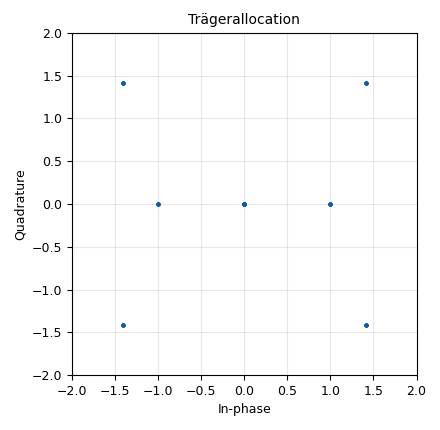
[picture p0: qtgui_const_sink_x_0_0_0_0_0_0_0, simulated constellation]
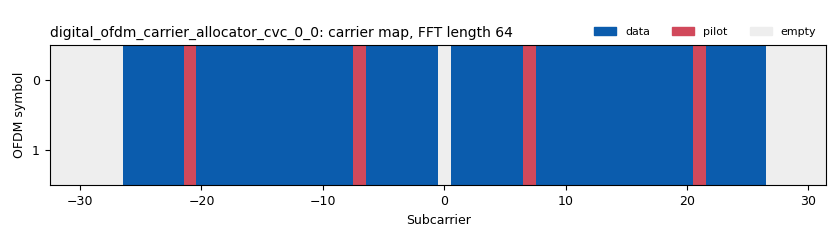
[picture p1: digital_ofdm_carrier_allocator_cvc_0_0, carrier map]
options:
  parameters:
    author: jreitmei
    comment: |-
      This example demonstrates the application of the 
      Fast Fourier Transform (FFT) within an 
      Orthogonal Frequency Division Multiplexing (OFDM) 
      scenario. It highlights the integration of a 
      Finite Impulse Response (FIR) filter for channel simulation
      with cyclic prefix addition and removal, illustrating their 
      roles in a standard transmission process. The example builds 
      upon the rx_ofdm and tx_ofdm examples from the gr_digital library.
    generate_options: qt_gui
    generator_class_name: PythonQtGuiGenerator
    generator_module: gnuradio.grc.workflows.python_qt_gui
    id: fft_full_demo
    output_language: python
    title: Not titled yet
  states: {}

blocks:
- name: coeffs_distribution
  id: variable_qtgui_range
  parameters:
    comment: |-
      This graphical user interface (GUI) allows you to 
      adjust a filter tap within the FIR filter to simulate 
      delay effects. Additionally, it enables adaptations 
      for simulating multipath propagation scenarios.
    gui_hint: (0,0,1,4)
    label: FIR Filter running coeffs
    orient: QtCore.Qt.Orientation.Horizontal
    rangeType: int
    start: '0'
    step: '1'
    stop: '40'
    value: '0'
  states: {}
- name: cp_len
  id: variable
  parameters:
    value: int(fft_len/4)
  states: {}
- name: fft_len
  id: variable
  parameters:
    value: '64'
  states: {}
- name: length_tag_key
  id: variable
  parameters:
    value: '"packet_len"'
  states: {}
- name: mult_const
  id: variable_qtgui_range
  parameters:
    comment: |-
      This is for Mulitplying a const before it is further processed on the 
      FPGA. Can be adjusted but FFT tends to clip when used with the 
      wrong parameters.
    gui_hint: (1,0,1,4)
    label: Power of scaling Divider FFT
    orient: QtCore.Qt.Orientation.Horizontal
    start: '0.001'
    step: '0.001'
    stop: '0.2'
    value: '0.01'
  states: {}
- name: multipath_propagation
  id: variable
  parameters:
    value: (min(coeffs_distribution, num_coeffs-4))*[0.0] + [1.0, 0.8, 0.6, 0.1] + max(0, num_coeffs - 4 - min(coeffs_distribution, num_coeffs-4))*[0.0]
  states: {}
- name: multipath_propagation_0
  id: variable
  parameters:
    value: 1 * [1.0] + (min(coeffs_distribution, num_coeffs-5))*[0.0] + [0.8, 0.6, 0.4, 0.1] + max(0, num_coeffs - 5 - min(coeffs_distribution, num_coeffs-5))*[0.0]
  states: {}
- name: num_coeffs
  id: variable
  parameters:
    comment: FIR Filter length
    value: '41'
  states: {}
- name: occupied_carriers
  id: variable
  parameters:
    value: (list(range(-26, -21)) + list(range(-20, -7)) + list(range(-6, 0)) + list(range(1, 7)) + list(range(8, 21)) + list(range(22, 27)),)
  states: {}
- name: packet_len
  id: variable
  parameters:
    value: '64'
  states: {}
- name: payload_equalizer
  id: variable
  parameters:
    value: digital.ofdm_equalizer_simpledfe(fft_len, payload_mod.base(), occupied_carriers, pilot_carriers, pilot_symbols, 1)
  states: {}
- name: payload_mod
  id: variable
  parameters:
    value: digital.constellation_qpsk()
  states: {}
- name: pilot_carriers
  id: variable
  parameters:
    value: ((-21, -7, 7, 21,),)
  states: {}
- name: pilot_symbols
  id: variable
  parameters:
    value: ((1, 1, 1, -1,),)
  states: {}
- name: running_coeffs
  id: variable
  parameters:
    value: (coeffs_distribution)*[0.0] + [1.0] + (num_coeffs - 1 - coeffs_distribution)*[0.0]
  states: {}
- name: samp_rate
  id: variable
  parameters:
    value: '10000'
  states: {}
- name: scaling_divider_0
  id: variable_qtgui_range
  parameters:
    gui_hint: (2,0,1,4)
    label: Power of scaling Divider IFFT
    orient: QtCore.Qt.Orientation.Horizontal
    rangeType: int
    start: '0'
    step: '1'
    stop: '6'
    value: '1'
  states: {}
- name: scaling_divider_1
  id: variable_qtgui_range
  parameters:
    gui_hint: (3,0,1,4)
    label: Power of scaling Divider FFT
    orient: QtCore.Qt.Orientation.Horizontal
    rangeType: int
    start: '0'
    step: '1'
    stop: '6'
    value: '1'
  states: {}
- name: scaling_factor_0
  id: variable
  parameters:
    value: 1/(2**scaling_divider_0)
  states: {}
- name: scaling_factor_1
  id: variable
  parameters:
    comment: |-
      This adjusts the FFT scaling factor. Remember that the scaling 
      factor is defined as (1/2^scaling_divider) for better FPGA
      processing.
    value: 1/(2**scaling_divider_1)
  states: {}
- name: sync_word1
  id: variable
  parameters:
    value: '[0., 0., 0., 0., 0., 0., 0., 1., 0., -1., 0., 1., 0., -1., 0., -1., 0., -1., 0., 1., 0., -1., 0., 1., 0., -1., 0., -1., 0., -1., 0., -1., 0., 1., 0., -1., 0., 1., 0., 1., 0., 1., 0., -1., 0., 1., 0., 1., 0., 1., 0., -1., 0., 1., 0., 1., 0., 1., 0., 0., 0., 0., 0., 0.]'
  states: {}
- name: sync_word2
  id: variable
  parameters:
    value: '[0, 0, 0, 0, 0, 0, -1, -1, -1, -1, 1, 1, -1, -1, -1, 1, -1, 1, 1, 1, 1, 1, -1, -1, -1, -1, -1, 1, -1, -1, 1, -1, 0, 1, -1, 1, 1, 1, -1, 1, 1, 1, -1, 1, 1, 1, 1, -1, 1, -1, -1, -1, 1, -1, 1, -1, -1, -1, -1, 0, 0, 0, 0, 0] '
  states: {}
- name: uhd_rfnoc_graph
  id: uhd_rfnoc_graph
  parameters:
    dev_addr: '"addr=192.168.40.2"'
  states: {}
- name: analog_random_source_x_0_0
  id: analog_random_source_x
  parameters:
    max: '255'
    min: '0'
    num_samps: '1000'
    repeat: 'True'
    type: byte
  states: {}
- name: blocks_multiply_const_vxx_0
  id: blocks_multiply_const_vxx
  parameters:
    const: '[mult_const] *fft_len'
    type: complex
    vlen: fft_len
  states: {}
- name: blocks_repack_bits_bb_0
  id: blocks_repack_bits_bb
  parameters:
    align_output: 'True'
    endianness: gr.GR_LSB_FIRST
    k: payload_mod.bits_per_symbol()
    l: '8'
    len_tag_key: packet_len
  states: {}
- name: blocks_repack_bits_bb_0_0
  id: blocks_repack_bits_bb
  parameters:
    endianness: gr.GR_LSB_FIRST
    k: '8'
    l: payload_mod.bits_per_symbol()
    len_tag_key: length_tag_key
  states: {}
- name: blocks_stream_to_tagged_stream_0
  id: blocks_stream_to_tagged_stream
  parameters:
    len_tag_key: '"packet_len"'
    packet_len: '8'
    type: complex
    vlen: '64'
  states: {}
- name: blocks_stream_to_tagged_stream_0_0
  id: blocks_stream_to_tagged_stream
  parameters:
    len_tag_key: length_tag_key
    packet_len: packet_len
    type: byte
  states: {}
- name: blocks_tag_debug_1
  id: blocks_tag_debug
  parameters:
    name: Rx Bytes
    type: byte
  states: {}
- name: blocks_throttle2_0
  id: blocks_throttle2
  parameters:
    samples_per_second: samp_rate
    type: complex
  states: {}
- name: blocks_vector_to_stream_0
  id: blocks_vector_to_stream
  parameters:
    num_items: fft_len
    type: complex
  states: {}
- name: digital_chunks_to_symbols_xx_0_0_0
  id: digital_chunks_to_symbols_xx
  parameters:
    dimension: '1'
    in_type: byte
    out_type: complex
    symbol_table: payload_mod.points()
  states: {}
- name: digital_constellation_decoder_cb_1
  id: digital_constellation_decoder_cb
  parameters:
    constellation: payload_mod.base()
  states: {}
- name: digital_ofdm_carrier_allocator_cvc_0_0
  id: digital_ofdm_carrier_allocator_cvc
  parameters:
    fft_len: fft_len
    len_tag_key: length_tag_key
    occupied_carriers: occupied_carriers
    output_is_shifted: 'False'
    pilot_carriers: pilot_carriers
    pilot_symbols: pilot_symbols
    sync_words: (sync_word1, sync_word2)
  states: {}
- name: digital_ofdm_chanest_vcvc_0
  id: digital_ofdm_chanest_vcvc
  parameters:
    force_one_symbol: 'False'
    max_carr_offset: '3'
    n_data_symbols: '1'
    sync_symbol1: sync_word1
    sync_symbol2: sync_word2
  states: {}
- name: digital_ofdm_frame_equalizer_vcvc_1
  id: digital_ofdm_frame_equalizer_vcvc
  parameters:
    cp_len: cp_len
    equalizer: payload_equalizer.base()
    fft_len: fft_len
    len_tag_key: length_tag_key
    propagate_channel_state: 'True'
  states: {}
- name: digital_ofdm_serializer_vcc_payload
  id: digital_ofdm_serializer_vcc
  parameters:
    carr_offset_key: ''
    fft_len: fft_len
    len_tag_key: length_tag_key
    occupied_carriers: occupied_carriers
    packet_len_tag_key: length_tag_key
    symbols_skipped: '1'
  states: {}
- name: import_0
  id: import
  parameters:
    imports: from gnuradio.filter import pm_remez
  states: {}
- name: import_1
  id: import
  parameters:
    imports: from gnuradio.digital.utils import tagged_streams
  states: {}
- name: qtgui_const_sink_x_0_0_0_0_0_0_0
  id: qtgui_const_sink_x
  parameters:
    grid: 'True'
    gui_hint: (4, 0, 1, 4)
    name: '"Trägerallocation"'
    size: '400'
    type: complex
    update_time: '0.01'
  states: {}
- name: qtgui_const_sink_x_0_0_0_0_0_0_1
  id: qtgui_const_sink_x
  parameters:
    grid: 'True'
    gui_hint: (5, 0, 1,4)
    name: '"Endergebnis"'
    size: '100'
    type: complex
    update_time: '0.001'
  states: {}
- name: uhd_rfnoc_fft_0
  id: uhd_rfnoc_fft
  parameters:
    device_select: '0'
    fft_bypass_mode: 'False'
    fft_cp_insertion_list: '[cp_len]'
    fft_cp_removal_list: '[]'
    fft_direction: REVERSE
    fft_length: fft_len
    fft_magnitude: COMPLEX
    fft_scaling_factor: scaling_factor_0
    fft_shift_config: NATURAL
    instance_index: '0'
    scaling_version: Scaling Factor
  states: {}
- name: uhd_rfnoc_fft_1
  id: uhd_rfnoc_fft
  parameters:
    device_select: '0'
    fft_bypass_mode: 'False'
    fft_cp_insertion_list: '[]'
    fft_cp_removal_list: '[cp_len]'
    fft_direction: FORWARD
    fft_length: fft_len
    fft_magnitude: COMPLEX
    fft_scaling_factor: scaling_factor_1
    fft_shift_config: NATURAL
    instance_index: '1'
    scaling_version: Scaling Factor
  states: {}
- name: uhd_rfnoc_fir_filter_0
  id: uhd_rfnoc_fir_filter
  parameters:
    coeffs_float0: running_coeffs
    device_select: '0'
    instance_index: '0'
  states: {}
- name: uhd_rfnoc_rx_streamer_0
  id: uhd_rfnoc_rx_streamer
  parameters:
    issue_stream_cmd: 'True'
    otw: sc16
    output_type: fc32
    vlen: fft_len
  states: {}
- name: uhd_rfnoc_tx_streamer_0
  id: uhd_rfnoc_tx_streamer
  parameters:
    input_type: fc32
    otw: sc16
    vlen: fft_len
  states: {}
- name: virtual_sink_0
  id: virtual_sink
  parameters:
    stream_id: Equalisation
  states: {}
- name: virtual_sink_0_0_0_0
  id: virtual_sink
  parameters:
    stream_id: Pre-OFDM
  states: {}
- name: virtual_sink_0_0_1
  id: virtual_sink
  parameters:
    stream_id: Payload Bits
  states: {}
- name: virtual_sink_1_0
  id: virtual_sink
  parameters:
    stream_id: Payload IQ
  states: {}
- name: virtual_source_0
  id: virtual_source
  parameters:
    stream_id: Equalisation
  states: {}
- name: virtual_source_0_0_0
  id: virtual_source
  parameters:
    stream_id: Pre-OFDM
  states: {}
- name: virtual_source_0_0_1
  id: virtual_source
  parameters:
    stream_id: Payload IQ
  states: {}
- name: virtual_source_0_0_2
  id: virtual_source
  parameters:
    stream_id: Payload Bits
  states: {}

connections:
- [analog_random_source_x_0_0, '0', blocks_stream_to_tagged_stream_0_0, '0']
- [blocks_multiply_const_vxx_0, '0', uhd_rfnoc_tx_streamer_0, '0']
- [blocks_repack_bits_bb_0, '0', blocks_tag_debug_1, '0']
- [blocks_repack_bits_bb_0_0, '0', virtual_sink_0_0_1, '0']
- [blocks_stream_to_tagged_stream_0, '0', virtual_sink_0, '0']
- [blocks_stream_to_tagged_stream_0_0, '0', blocks_repack_bits_bb_0_0, '0']
- [blocks_throttle2_0, '0', virtual_sink_0_0_0_0, '0']
- [blocks_vector_to_stream_0, '0', qtgui_const_sink_x_0_0_0_0_0_0_0, '0']
- [digital_chunks_to_symbols_xx_0_0_0, '0', blocks_throttle2_0, '0']
- [digital_constellation_decoder_cb_1, '0', blocks_repack_bits_bb_0, '0']
- [digital_ofdm_carrier_allocator_cvc_0_0, '0', blocks_multiply_const_vxx_0, '0']
- [digital_ofdm_carrier_allocator_cvc_0_0, '0', blocks_vector_to_stream_0, '0']
- [digital_ofdm_chanest_vcvc_0, '0', digital_ofdm_frame_equalizer_vcvc_1, '0']
- [digital_ofdm_frame_equalizer_vcvc_1, '0', digital_ofdm_serializer_vcc_payload, '0']
- [digital_ofdm_serializer_vcc_payload, '0', qtgui_const_sink_x_0_0_0_0_0_0_1, '0']
- [digital_ofdm_serializer_vcc_payload, '0', virtual_sink_1_0, '0']
- {params: {is_back_edge: 'False'}, snk_blk_id: uhd_rfnoc_fir_filter_0, snk_port_id: '0', src_blk_id: uhd_rfnoc_fft_0, src_port_id: '0'}
- {params: {is_back_edge: 'False'}, snk_blk_id: uhd_rfnoc_rx_streamer_0, snk_port_id: '0', src_blk_id: uhd_rfnoc_fft_1, src_port_id: '0'}
- {params: {is_back_edge: 'False'}, snk_blk_id: uhd_rfnoc_fft_1, snk_port_id: '0', src_blk_id: uhd_rfnoc_fir_filter_0, src_port_id: '0'}
- [uhd_rfnoc_rx_streamer_0, '0', blocks_stream_to_tagged_stream_0, '0']
- {params: {is_back_edge: 'False'}, snk_blk_id: uhd_rfnoc_fft_0, snk_port_id: '0', src_blk_id: uhd_rfnoc_tx_streamer_0, src_port_id: '0'}
- [virtual_source_0, '0', digital_ofdm_chanest_vcvc_0, '0']
- [virtual_source_0_0_0, '0', digital_ofdm_carrier_allocator_cvc_0_0, '0']
- [virtual_source_0_0_1, '0', digital_constellation_decoder_cb_1, '0']
- [virtual_source_0_0_2, '0', digital_chunks_to_symbols_xx_0_0_0, '0']

metadata:
  file_format: 2
  grc_version: v3.11.0.0git-952-g315d2021
